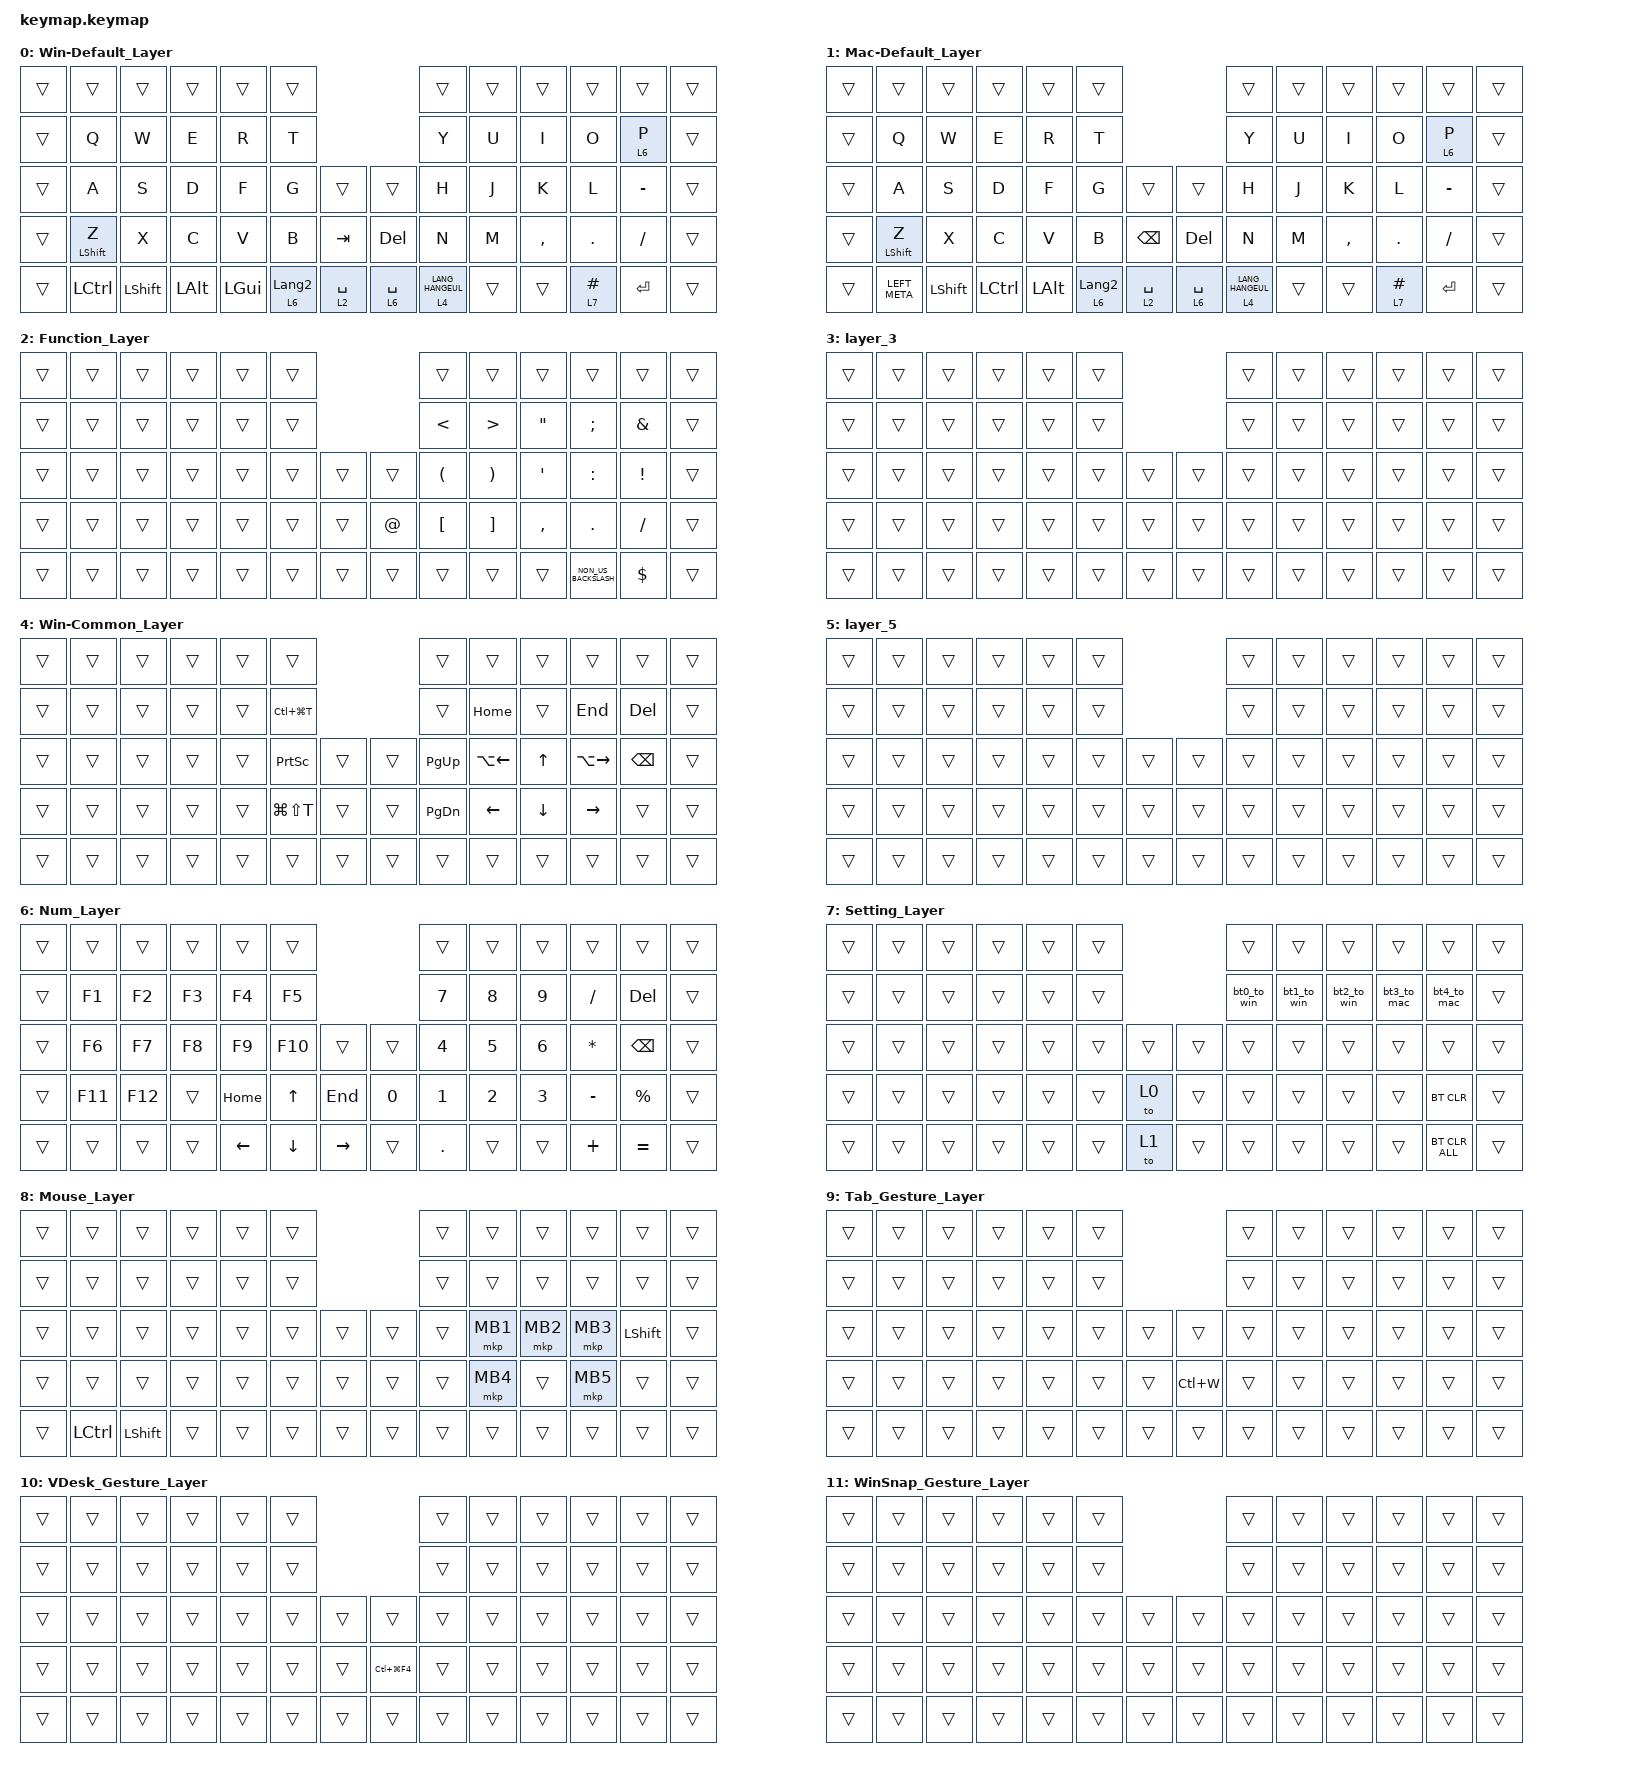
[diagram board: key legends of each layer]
#include <behaviors.dtsi>
#include <dt-bindings/zmk/bt.h>
#include <dt-bindings/zmk/keys.h>
#include <dt-bindings/zmk/pointing.h>

/ {
    combos {
        compatible = "zmk,combos";

        tab {
            bindings = <&kp TAB>;
            key-positions = <25 26>;
        };

        esc {
            bindings = <&kp ESC>;
            key-positions = <13 14>;
        };

        Layer9 {
            bindings = <&mo 9>;
            key-positions = <35 36>;
            timeout-ms = <25>;
        };

        Layer10 {
            bindings = <&mo 10>;
            key-positions = <21 22>;
            timeout-ms = <25>;
        };

        Layer11 {
            bindings = <&mo 11>;
            key-positions = <49 50>;
        };
    };

    macros {
        bt0_to_win: bt0_to_win {
            compatible = "zmk,behavior-macro";
            #binding-cells = <0>;
            bindings = <&bt BT_SEL 0 &to 0>;
        };

        bt1_to_win: bt1_to_win {
            compatible = "zmk,behavior-macro";
            #binding-cells = <0>;
            bindings = <&bt BT_SEL 1 &to 0>;
        };

        bt2_to_win: bt2_to_win {
            compatible = "zmk,behavior-macro";
            #binding-cells = <0>;
            bindings = <&bt BT_SEL 2 &to 0>;
        };

        bt3_to_mac: bt3_to_mac {
            compatible = "zmk,behavior-macro";
            #binding-cells = <0>;
            bindings = <&bt BT_SEL 3 &to 1>;
        };

        bt4_to_mac: bt4_to_mac {
            compatible = "zmk,behavior-macro";
            #binding-cells = <0>;
            bindings = <&bt BT_SEL 4 &to 1>;
        };
    };

    keymap {
        compatible = "zmk,keymap";

        Win-Default_Layer {
            bindings = <
&trans  &trans            &trans          &trans    &trans        &trans                                      &trans              &trans  &trans     &trans      &trans     &trans
&trans  &kp Q             &kp W           &kp E     &kp R         &kp T                                       &kp Y               &kp U   &kp I      &kp O       &lt 6 P    &trans
&trans  &kp A             &kp S           &kp D     &kp F         &kp G             &trans       &trans       &kp H               &kp J   &kp K      &kp L       &kp MINUS  &trans
&trans  &mt LEFT_SHIFT Z  &kp X           &kp C     &kp V         &kp B             &kp TAB      &kp DELETE   &kp N               &kp M   &kp COMMA  &kp PERIOD  &kp SLASH  &trans
&trans  &kp LCTRL         &kp LEFT_SHIFT  &kp LALT  &kp LEFT_GUI  &lt 6 LANGUAGE_2  &lt 2 SPACE  &lt 6 SPACE  &lt 4 LANG_HANGEUL  &trans  &trans     &lt 7 HASH  &kp ENTER  &trans
            >;
        };

        Mac-Default_Layer {
            bindings = <
&trans  &trans            &trans          &trans            &trans        &trans                                        &trans              &trans  &trans     &trans      &trans     &trans
&trans  &kp Q             &kp W           &kp E             &kp R         &kp T                                         &kp Y               &kp U   &kp I      &kp O       &lt 6 P    &trans
&trans  &kp A             &kp S           &kp D             &kp F         &kp G             &trans         &trans       &kp H               &kp J   &kp K      &kp L       &kp MINUS  &trans
&trans  &mt LEFT_SHIFT Z  &kp X           &kp C             &kp V         &kp B             &kp BACKSPACE  &kp DELETE   &kp N               &kp M   &kp COMMA  &kp PERIOD  &kp FSLH   &trans
&trans  &kp LEFT_META     &kp LEFT_SHIFT  &kp LEFT_CONTROL  &kp LEFT_ALT  &lt 6 LANGUAGE_2  &lt 2 SPACE    &lt 6 SPACE  &lt 4 LANG_HANGEUL  &trans  &trans     &lt 7 HASH  &kp ENTER  &trans
            >;
        };

        Function_Layer {
            bindings = <
&trans  &trans  &trans  &trans  &trans  &trans                       &trans                &trans                 &trans             &trans                &trans           &trans
&trans  &trans  &trans  &trans  &trans  &trans                       &kp LESS_THAN         &kp GREATER_THAN       &kp DOUBLE_QUOTES  &kp SEMICOLON         &kp AMPERSAND    &trans
&trans  &trans  &trans  &trans  &trans  &trans  &trans  &trans       &kp LEFT_PARENTHESIS  &kp RIGHT_PARENTHESIS  &kp SQT            &kp COLON             &kp EXCLAMATION  &trans
&trans  &trans  &trans  &trans  &trans  &trans  &trans  &kp AT_SIGN  &kp LEFT_BRACKET      &kp RIGHT_BRACKET      &kp COMMA          &kp PERIOD            &kp SLASH        &trans
&trans  &trans  &trans  &trans  &trans  &trans  &trans  &trans       &trans                &trans                 &trans             &kp NON_US_BACKSLASH  &kp DOLLAR       &trans
            >;
        };

        layer_3 {
            bindings = <
&trans  &trans  &trans  &trans  &trans  &trans                  &trans  &trans  &trans  &trans  &trans  &trans
&trans  &trans  &trans  &trans  &trans  &trans                  &trans  &trans  &trans  &trans  &trans  &trans
&trans  &trans  &trans  &trans  &trans  &trans  &trans  &trans  &trans  &trans  &trans  &trans  &trans  &trans
&trans  &trans  &trans  &trans  &trans  &trans  &trans  &trans  &trans  &trans  &trans  &trans  &trans  &trans
&trans  &trans  &trans  &trans  &trans  &trans  &trans  &trans  &trans  &trans  &trans  &trans  &trans  &trans
            >;
        };

        Win-Common_Layer {
            bindings = <
&trans  &trans  &trans  &trans  &trans  &trans                         &trans         &trans              &trans          &trans               &trans         &trans
&trans  &trans  &trans  &trans  &trans  &kp LC(LG(T))                  &trans         &kp HOME            &trans          &kp END              &kp DEL        &trans
&trans  &trans  &trans  &trans  &trans  &kp PSCRN      &trans  &trans  &kp PG_UP      &kp LA(LEFT_ARROW)  &kp UP_ARROW    &kp LA(RIGHT_ARROW)  &kp BACKSPACE  &trans
&trans  &trans  &trans  &trans  &trans  &kp LG(LS(T))  &trans  &trans  &kp PAGE_DOWN  &kp LEFT_ARROW      &kp DOWN_ARROW  &kp RIGHT_ARROW      &trans         &trans
&trans  &trans  &trans  &trans  &trans  &trans         &trans  &trans  &trans         &trans              &trans          &trans               &trans         &trans
            >;
        };

        layer_5 {
            bindings = <
&trans  &trans  &trans  &trans  &trans  &trans                  &trans  &trans  &trans  &trans  &trans  &trans
&trans  &trans  &trans  &trans  &trans  &trans                  &trans  &trans  &trans  &trans  &trans  &trans
&trans  &trans  &trans  &trans  &trans  &trans  &trans  &trans  &trans  &trans  &trans  &trans  &trans  &trans
&trans  &trans  &trans  &trans  &trans  &trans  &trans  &trans  &trans  &trans  &trans  &trans  &trans  &trans
&trans  &trans  &trans  &trans  &trans  &trans  &trans  &trans  &trans  &trans  &trans  &trans  &trans  &trans
            >;
        };

        Num_Layer {
            bindings = <
&trans  &trans   &trans   &trans  &trans          &trans                                   &trans      &trans  &trans  &trans        &trans         &trans
&trans  &kp F1   &kp F2   &kp F3  &kp F4          &kp F5                                   &kp N7      &kp N8  &kp N9  &kp SLASH     &kp DELETE     &trans
&trans  &kp F6   &kp F7   &kp F8  &kp F9          &kp F10         &trans           &trans  &kp N4      &kp N5  &kp N6  &kp ASTERISK  &kp BACKSPACE  &trans
&trans  &kp F11  &kp F12  &trans  &kp HOME        &kp UP_ARROW    &kp END          &kp N0  &kp N1      &kp N2  &kp N3  &kp MINUS     &kp PERCENT    &trans
&trans  &trans   &trans   &trans  &kp LEFT_ARROW  &kp DOWN_ARROW  &kp RIGHT_ARROW  &trans  &kp PERIOD  &trans  &trans  &kp PLUS      &kp EQUAL      &trans
            >;
        };

        Setting_Layer {
            bindings = <
&trans  &trans  &trans  &trans  &trans  &trans                  &trans       &trans       &trans       &trans       &trans          &trans
&trans  &trans  &trans  &trans  &trans  &trans                  &bt0_to_win  &bt1_to_win  &bt2_to_win  &bt3_to_mac  &bt4_to_mac     &trans
&trans  &trans  &trans  &trans  &trans  &trans  &trans  &trans  &trans       &trans       &trans       &trans       &trans          &trans
&trans  &trans  &trans  &trans  &trans  &trans  &to 0   &trans  &trans       &trans       &trans       &trans       &bt BT_CLR      &trans
&trans  &trans  &trans  &trans  &trans  &trans  &to 1   &trans  &trans       &trans       &trans       &trans       &bt BT_CLR_ALL  &trans
            >;
        };

        Mouse_Layer {
            bindings = <
&trans  &trans            &trans     &trans  &trans  &trans                  &trans  &trans    &trans    &trans    &trans          &trans
&trans  &trans            &trans     &trans  &trans  &trans                  &trans  &trans    &trans    &trans    &trans          &trans
&trans  &trans            &trans     &trans  &trans  &trans  &trans  &trans  &trans  &mkp MB1  &mkp MB2  &mkp MB3  &kp LEFT_SHIFT  &trans
&trans  &trans            &trans     &trans  &trans  &trans  &trans  &trans  &trans  &mkp MB4  &trans    &mkp MB5  &trans          &trans
&trans  &kp LEFT_CONTROL  &kp LSHFT  &trans  &trans  &trans  &trans  &trans  &trans  &trans    &trans    &trans    &trans          &trans
            >;
        };

        // Layer 9: ブラウザタブ切替ジェスチャ専用レイヤー
        // ボール操作: 左=前タブ 右=次タブ 上=新規タブ 下=最小化
        // 閉じる(Ctrl+W)は右親指キー(position 45)に割当
        // キーバインドはoverlay側のzip_tab_gestureで処理

        Tab_Gesture_Layer {
            bindings = <
&trans  &trans  &trans  &trans  &trans  &trans                     &trans  &trans  &trans  &trans  &trans  &trans
&trans  &trans  &trans  &trans  &trans  &trans                     &trans  &trans  &trans  &trans  &trans  &trans
&trans  &trans  &trans  &trans  &trans  &trans  &trans  &trans     &trans  &trans  &trans  &trans  &trans  &trans
&trans  &trans  &trans  &trans  &trans  &trans  &trans  &kp LC(W)  &trans  &trans  &trans  &trans  &trans  &trans
&trans  &trans  &trans  &trans  &trans  &trans  &trans  &trans     &trans  &trans  &trans  &trans  &trans  &trans
            >;
        };

        // Layer 10: 仮想デスクトップ切替ジェスチャ専用レイヤー
        // ボール操作: 左=前デスク 右=次デスク 上=新規デスク 下=最小化
        // 閉じる(Ctrl+Win+F4)は右親指キー(position 45)に割当
        // キーバインドはoverlay側のzip_vdesk_gestureで処理

        VDesk_Gesture_Layer {
            bindings = <
&trans  &trans  &trans  &trans  &trans  &trans                          &trans  &trans  &trans  &trans  &trans  &trans
&trans  &trans  &trans  &trans  &trans  &trans                          &trans  &trans  &trans  &trans  &trans  &trans
&trans  &trans  &trans  &trans  &trans  &trans  &trans  &trans          &trans  &trans  &trans  &trans  &trans  &trans
&trans  &trans  &trans  &trans  &trans  &trans  &trans  &kp LC(LG(F4))  &trans  &trans  &trans  &trans  &trans  &trans
&trans  &trans  &trans  &trans  &trans  &trans  &trans  &trans          &trans  &trans  &trans  &trans  &trans  &trans
            >;
        };

        WinSnap_Gesture_Layer {
            bindings = <
&trans  &trans  &trans  &trans  &trans  &trans                  &trans  &trans  &trans  &trans  &trans  &trans
&trans  &trans  &trans  &trans  &trans  &trans                  &trans  &trans  &trans  &trans  &trans  &trans
&trans  &trans  &trans  &trans  &trans  &trans  &trans  &trans  &trans  &trans  &trans  &trans  &trans  &trans
&trans  &trans  &trans  &trans  &trans  &trans  &trans  &trans  &trans  &trans  &trans  &trans  &trans  &trans
&trans  &trans  &trans  &trans  &trans  &trans  &trans  &trans  &trans  &trans  &trans  &trans  &trans  &trans
            >;
        };
    };
};
